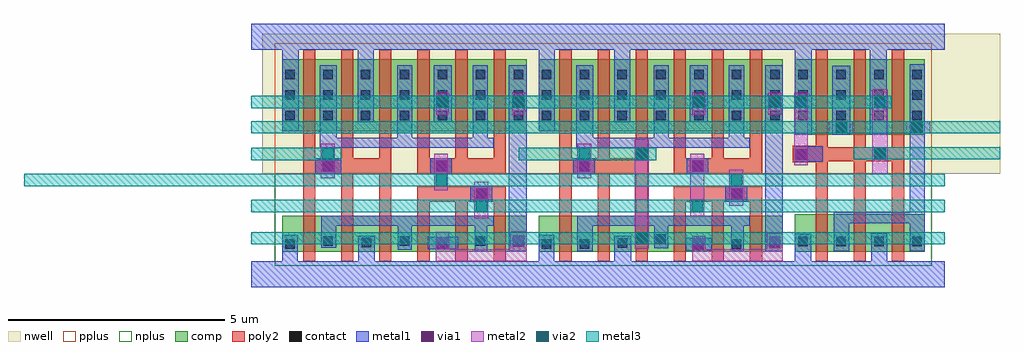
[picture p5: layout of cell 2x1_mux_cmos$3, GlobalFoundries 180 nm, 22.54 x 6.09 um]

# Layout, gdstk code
import gdstk
lib = gdstk.Library(unit=1e-6, precision=5e-09)
def R(c, l, rs):  # rectangles x0, y0, x1, y1
    for r in rs: c.add(gdstk.rectangle(r[:2], r[2:], *l))
def A(c, l, x, y, w, h, nx, ny, dx, dy):  # array of equal rectangles
    R(c, l, [(x+i*dx, y+j*dy, x+i*dx+w, y+j*dy+h) for i in range(nx) for j in range(ny)])
nwell = (21, 0)
comp = (22, 0)
poly2 = (30, 0)
pplus = (31, 0)
nplus = (32, 0)
contact = (33, 0)
metal1 = (34, 0)
via1 = (35, 0)
metal2 = (36, 0)
via2 = (38, 0)
metal3 = (42, 0)

c_2x1_mux_cmos_3 = lib.new_cell('2x1_mux_cmos$3')
R(c_2x1_mux_cmos_3, nwell, [(-4.99,-2.645,12.045,0.595)])
R(c_2x1_mux_cmos_3, comp, [(-4.53,-4.445,1.11,-3.61), (1.39,-4.445,7.03,-3.61), (7.31,-4.445,10.31,-3.575), (7.31,-1.74,10.31,0), (-4.53,-1.665,1.11,0.005), (1.39,-1.665,7.03,0.005)])
A(c_2x1_mux_cmos_3, poly2, -4.05, -4.665, 0.28, 4.89, 3, 1, 0.88, 0)
A(c_2x1_mux_cmos_3, poly2, -1.41, -4.665, 0.28, 1.74, 3, 1, 0.88, 0)
A(c_2x1_mux_cmos_3, poly2, 1.87, -4.665, 0.28, 4.89, 3, 1, 0.88, 0)
A(c_2x1_mux_cmos_3, poly2, 4.51, -4.665, 0.28, 1.74, 3, 1, 0.88, 0)
A(c_2x1_mux_cmos_3, poly2, 7.79, -4.665, 0.28, 4.89, 3, 1, 0.88, 0)
A(c_2x1_mux_cmos_3, poly2, -1.41, -2.645, 0.28, 2.87, 3, 1, 0.88, 0)
A(c_2x1_mux_cmos_3, poly2, 4.51, -2.645, 0.28, 2.87, 3, 1, 0.88, 0)
R(c_2x1_mux_cmos_3, poly2, [(-1.13,-3.285,0.35,-2.925), (4.79,-3.285,6.27,-2.925), (-4.05,-2.645,-2.89,-2.285), (-2.89,-2.645,-2.29,-2.285), (-1.13,-2.645,0.35,-2.285), (1.87,-2.645,3.03,-2.285), (3.03,-2.645,3.63,-2.285), (4.79,-2.645,6.27,-2.285), (7.255,-2.38,7.79,-2), (7.79,-2.35,9.83,-2.03)])
R(c_2x1_mux_cmos_3, pplus, [(-4.7,-2.645,10.47,0.375)])
R(c_2x1_mux_cmos_3, nplus, [(-4.7,-4.765,10.47,-2.645)])
A(c_2x1_mux_cmos_3, contact, 7.38, -4.315, 0.22, 0.22, 4, 2, 0.88, 2.91)
A(c_2x1_mux_cmos_3, contact, 7.38, -0.935, 0.22, 0.22, 4, 2, 0.88, 0.475)
R(c_2x1_mux_cmos_3, contact, [(-4.46,-4.375,-4.24,-4.155), (1.46,-4.375,1.68,-4.155), (2.34,-4.375,2.56,-4.155), (4.98,-4.375,5.2,-4.155), (5.855,-4.375,6.075,-4.155), (-0.94,-4.36,-0.72,-4.14), (3.22,-4.355,3.44,-4.135), (-2.7,-4.34,-2.48,-4.12), (6.735,-4.34,6.955,-4.12), (-3.58,-4.31,-3.36,-4.09), (-1.82,-4.31,-1.6,-4.09), (-0.065,-4.31,0.155,-4.09), (0.815,-4.31,1.035,-4.09), (4.1,-4.26,4.32,-4.04), (-0.04,-3.215,0.18,-2.995), (5.85,-3.215,6.07,-2.995), (-3.585,-2.575,-3.365,-2.355), (-0.97,-2.575,-0.75,-2.355), (2.335,-2.575,2.555,-2.355), (4.95,-2.575,5.17,-2.355), (7.36,-2.305,7.58,-2.085), (-4.46,-1.405,-4.24,-1.185), (-3.58,-1.405,-3.36,-1.185), (-2.715,-1.405,-2.495,-1.185), (-1.82,-1.405,-1.6,-1.185), (-0.94,-1.405,-0.72,-1.185), (-0.065,-1.405,0.155,-1.185), (0.815,-1.405,1.035,-1.185), (1.46,-1.405,1.68,-1.185), (2.34,-1.405,2.56,-1.185), (3.205,-1.405,3.425,-1.185), (4.1,-1.405,4.32,-1.185), (4.98,-1.405,5.2,-1.185), (5.855,-1.405,6.075,-1.185), (6.735,-1.405,6.955,-1.185), (-4.46,-0.935,-4.24,-0.715), (-3.58,-0.935,-3.36,-0.715), (-2.715,-0.935,-2.495,-0.715), (-1.82,-0.935,-1.6,-0.715), (-0.94,-0.935,-0.72,-0.715), (-0.065,-0.935,0.155,-0.715), (0.82,-0.935,1.04,-0.715), (1.46,-0.935,1.68,-0.715), (2.34,-0.935,2.56,-0.715), (3.205,-0.935,3.425,-0.715), (4.1,-0.935,4.32,-0.715), (4.98,-0.935,5.2,-0.715), (5.855,-0.935,6.075,-0.715), (6.74,-0.935,6.96,-0.715), (-4.46,-0.46,-4.24,-0.24), (-3.58,-0.46,-3.36,-0.24), (-2.715,-0.46,-2.495,-0.24), (-1.82,-0.46,-1.6,-0.24), (-0.94,-0.46,-0.72,-0.24), (-0.065,-0.46,0.155,-0.24), (0.82,-0.46,1.04,-0.24), (1.46,-0.46,1.68,-0.24), (2.34,-0.46,2.56,-0.24), (3.205,-0.46,3.425,-0.24), (4.1,-0.46,4.32,-0.24), (4.98,-0.46,5.2,-0.24), (5.855,-0.46,6.075,-0.24), (6.74,-0.46,6.96,-0.24)])
R(c_2x1_mux_cmos_3, metal1, [(-5.25,-5.265,10.77,-4.665), (-4.53,-4.665,-4.17,-4.055), (-2.78,-4.665,-2.395,-4.075), (1.39,-4.665,1.75,-4.055), (3.14,-4.665,3.525,-4.075), (7.31,-4.665,7.685,-4.03), (9.075,-4.665,9.445,-4.015), (-0.085,-4.435,0.205,-3.61), (0.705,-4.435,1.11,-1.445), (2.285,-4.435,2.635,-3.61), (5.835,-4.435,6.125,-3.61), (6.625,-4.435,7.03,-1.445), (8.21,-4.435,8.56,-3.525), (9.965,-4.435,10.305,-1.74), (4.79,-4.415,5.39,-4.12), (-1.86,-4.395,-1.54,-3.61), (-1.165,-4.385,-0.465,-4.1), (4.06,-4.36,4.38,-3.61), (-3.635,-4.345,-3.285,-3.61), (-3.635,-3.845,0.35,-3.61), (2.285,-3.845,6.27,-3.61), (8.21,-3.785,10.31,-3.525), (-0.185,-3.285,0.315,-2.925), (5.705,-3.285,6.205,-2.925), (-3.77,-2.645,-3.17,-2.285), (-1.115,-2.645,-0.615,-2.285), (2.19,-2.645,2.69,-2.285), (4.805,-2.645,5.305,-2.285), (7.295,-2.37,7.955,-2.01), (-3.665,-2.045,-3.27,-0.14), (-3.665,-2.045,0.35,-1.815), (-1.87,-2.045,-1.525,-0.14), (-0.135,-2.045,0.215,-0.14), (2.255,-2.045,2.65,-0.14), (2.255,-2.045,6.27,-1.815), (4.05,-2.045,4.395,-0.14), (5.785,-2.045,6.135,-0.14), (7.31,-1.74,7.7,0.225), (8.17,-1.74,8.585,-0.15), (9.035,-1.74,9.435,0.225), (9.965,-1.74,10.31,-0.115), (-4.53,-1.665,-4.155,0.225), (1.39,-1.665,1.765,0.225), (-2.785,-1.45,-2.415,0.225), (3.135,-1.45,3.505,0.225), (-1.035,-1.445,-0.62,-0.14), (0.705,-1.445,1.11,-0.14), (4.885,-1.445,5.3,-0.14), (6.625,-1.445,7.03,-0.14), (-5.25,0.225,10.77,0.825)])
R(c_2x1_mux_cmos_3, via1, [(4.96,-4.4,5.22,-4.14), (-0.96,-4.375,-0.7,-4.115), (6.715,-4.36,6.975,-4.1), (0.795,-4.33,1.055,-4.07), (-0.06,-3.235,0.2,-2.975), (5.83,-3.235,6.09,-2.975), (-3.605,-2.595,-3.345,-2.335), (-0.99,-2.595,-0.73,-2.335), (2.315,-2.595,2.575,-2.335), (4.93,-2.595,5.19,-2.335), (7.32,-2.325,7.58,-2.065), (8.255,-1.695,8.515,-1.435), (10,-1.695,10.26,-1.435), (-0.96,-1.115,-0.7,-0.855), (0.795,-1.115,1.055,-0.855), (4.96,-1.115,5.22,-0.855), (6.715,-1.115,6.975,-0.855)])
R(c_2x1_mux_cmos_3, metal2, [(-0.985,-4.665,1.11,-4.385), (-0.985,-4.665,-0.67,-3.98), (0.735,-4.665,1.11,-3.985), (4.935,-4.665,5.25,-4.08), (4.935,-4.665,7.03,-4.385), (6.655,-4.665,7.03,-4.02), (3.61,-4.37,3.935,-1.845), (-0.095,-3.665,0.225,-2.825), (4.895,-3.625,5.215,-2.185), (5.795,-3.385,6.115,-2.545), (-1.025,-3.025,-0.705,-2.185), (-3.64,-2.745,-3.32,-1.945), (2.28,-2.745,2.6,-1.945), (9.09,-2.645,9.45,-0.685), (7.295,-2.45,7.605,-0.775), (8.09,-1.705,8.64,-1.425), (9.865,-1.705,10.43,-1.425), (-0.98,-1.275,-0.68,-0.775), (0.775,-1.275,1.075,-0.775), (4.94,-1.275,5.24,-0.775), (6.695,-1.275,6.995,-0.775)])
R(c_2x1_mux_cmos_3, via2, [(3.64,-4.26,3.9,-4), (-0.06,-3.515,0.2,-3.255), (4.925,-3.515,5.185,-3.255), (-0.99,-2.915,-0.73,-2.655), (5.825,-2.915,6.085,-2.655), (-3.605,-2.315,-3.345,-2.055), (2.315,-2.315,2.575,-2.055), (3.64,-2.315,3.9,-2.055), (9.145,-2.295,9.405,-2.035), (8.255,-1.695,8.515,-1.435), (10,-1.695,10.26,-1.435), (-0.96,-1.115,-0.7,-0.855), (0.795,-1.115,1.055,-0.855), (4.96,-1.115,5.22,-0.855), (6.715,-1.115,6.975,-0.855), (7.315,-1.115,7.575,-0.855), (9.14,-1.115,9.4,-0.855)])
R(c_2x1_mux_cmos_3, metal3, [(-5.25,-4.27,10.77,-3.99), (-5.25,-3.525,10.77,-3.245), (-10.495,-2.925,10.77,-2.645), (-5.25,-2.325,-3.17,-2.045), (0.93,-2.325,4.11,-2.045), (8.67,-2.305,12.045,-2.025), (-5.25,-1.705,12.045,-1.425), (-5.25,-1.125,9.55,-0.845)])

lib.write_gds('2x1_mux_cmos_3.gds')
